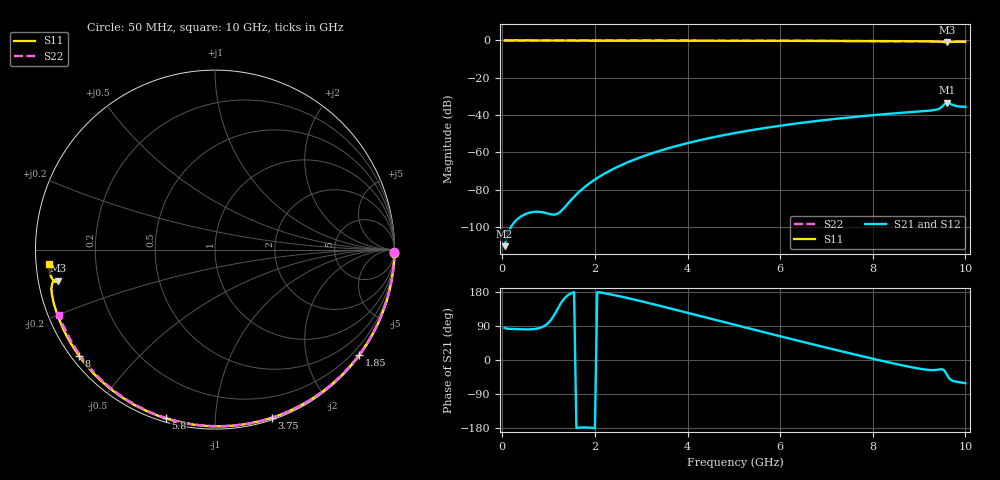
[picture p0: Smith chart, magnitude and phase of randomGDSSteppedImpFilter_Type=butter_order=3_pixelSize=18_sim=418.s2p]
! freq	dB(S11)	phase(S11)	dB(S12)	phase(S12)
!  dB(S21)	phase(S21)	dB(S22)	phase(S22)
!S-par simulation data
#  GHz  S  DB  R 50
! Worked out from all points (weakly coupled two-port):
!   200 points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, 50 MHz to 10 GHz, reference 50 ohm
!   highest |S21| = -33.29 dB at 9.6 GHz (marker M1); lowest = -110.3 dB at 50 MHz (marker M2)
!   lowest |S11| = -1.0 dB at 9.6 GHz (marker M3), VSWR 17.69, Z = 2.85 - j4.9 ohm
!   |S11| at or under -10 dB: nowhere
!   |S22| runs from -0.5 to 0.0 dB; largest |S21 - S12| = 0
!   S11 on the Smith chart (normalised r, x): 50 MHz: open; 1.85 GHz: 0.03, -3.05; 3.75 GHz: 0.02, -1.39; 5.8 GHz: 0.02, -0.75; 8 GHz: 0.02, -0.34; 10 GHz: 0.04, -0.04
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0.05  -0.00 -1.0  -110.25 84.7  -110.25 84.7  -0.00 -0.9
0.85  -0.02 -16.9  -92.00 86.4  -92.00 86.4  -0.02 -15.5
1.7  -0.04 -33.4  -80.21 -178.0  -80.21 -178.0  -0.04 -30.6
1.75  -0.04 -34.4  -79.15 -177.8  -79.15 -177.8  -0.04 -31.5
1.85  -0.05 -36.3  -77.17 -178.2  -77.17 -178.2  -0.04 -33.2
2.15  -0.05 -42.0  -72.19 177.4  -72.19 177.4  -0.05 -38.5
2.5  -0.06 -48.6  -67.61 169.1  -67.61 169.1  -0.06 -44.5
2.9  -0.07 -56.0  -63.39 158.0  -63.39 158.0  -0.07 -51.3
3.4  -0.09 -65.1  -59.13 143.1  -59.13 143.1  -0.08 -59.7
3.75  -0.10 -71.4  -56.62 132.3  -56.62 132.3  -0.09 -65.4
4.4  -0.12 -82.8  -52.70 112.1  -52.70 112.1  -0.11 -75.8
5.05  -0.14 -93.9  -49.48 91.9  -49.48 91.9  -0.13 -85.9
5.8  -0.18 -106.4  -46.42 68.8  -46.42 68.8  -0.17 -97.3
6.7  -0.24 -121.0  -43.42 41.5  -43.42 41.5  -0.22 -110.4
8  -0.34 -142.1  -40.05 3.3  -40.05 3.3  -0.31 -128.9
8.35  -0.38 -147.9  -39.30 -6.4  -39.30 -6.4  -0.34 -133.8
9.35  -0.53 -165.4  -37.21 -26.4  -37.21 -26.4  -0.45 -147.9
9.45  -0.61 -167.6  -36.35 -24.7  -36.35 -24.7  -0.46 -149.3
9.55  -0.88 -169.3  -34.11 -28.3  -34.11 -28.3  -0.47 -150.7
9.6  -0.98 -168.8  -33.29 -38.6  -33.29 -38.6  -0.48 -151.3
9.8  -0.65 -171.2  -35.13 -57.3  -35.13 -57.3  -0.50 -154.3
10  -0.62 -175.2  -35.56 -61.1  -35.56 -61.1  -0.52 -157.2
